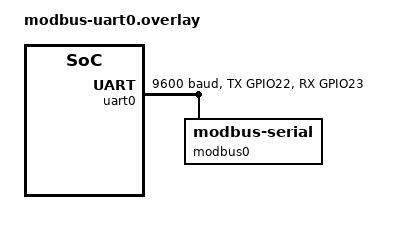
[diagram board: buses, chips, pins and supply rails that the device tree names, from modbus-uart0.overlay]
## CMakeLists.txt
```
# SPDX-License-Identifier: Apache-2.0

cmake_minimum_required(VERSION 3.20.0)

find_package(Zephyr REQUIRED HINTS $ENV{ZEPHYR_BASE})
project(wifi-tls)

# Sparkplug B protobuf, generated by nanopb into the build directory (proto/sparkplug_b.pb.h).
list(APPEND CMAKE_MODULE_PATH ${ZEPHYR_BASE}/modules/nanopb)
include(nanopb)
zephyr_nanopb_sources(app proto/sparkplug_b.proto)

target_sources(app PRIVATE
	src/main.c
	src/modbus_reader.c
	src/mqtt_transport.c
	src/sparkplug_node.c
	src/sparkplug_payload.c
)
target_sources_ifdef(CONFIG_APP_PPK_MARKERS app PRIVATE src/ppk_markers.c)
target_sources_ifdef(CONFIG_NETWORK_CELLULAR app PRIVATE src/network_modem.c)
target_sources_ifndef(CONFIG_NETWORK_CELLULAR app PRIVATE src/network_wifi.c)
```

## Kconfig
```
# Copyright 2025 NXP
# SPDX-License-Identifier: Apache-2.0

mainmenu "Wi-Fi MQTT TLS application"

config WIFI_SAMPLE_SSID
	string "SSID of the target AP"
	default "CHANGE_ME_WIFI_SSID"
	help
	  SSID of the access point to connect to in station mode.
	  For example: "TARGET-AP"

config WIFI_SAMPLE_PSK
	string "Pre-shared key for target AP"
	default "CHANGE_ME_WIFI_PSK"
	help
	  WPA2 password used to connect to the target AP.
	  For example: "PSK"

config WIFI_SAMPLE_DHCPV4_START
	bool "Start DHCPv4 server in application layer."
	default y
	help
	  Enable this option to start the DHCPv4 server from the application layer,
	  typically before the Soft AP is initialized.

	  When disabled, the DHCPv4 server startup timing is determined by the vendor's
	  implementation. In some cases, the server may be started after the AP is up,
	  using the vendor's default IP address, gateway, subnet mask.

config MQTT_BROKER_ADDRESS
	string "MQTT broker IPv4 address"
	default "CHANGE_ME_BROKER_IP"
	help
	  IPv4 address of the local Mosquitto broker.

config MQTT_CLIENT_ID
	string "MQTT client ID"
	default "esp32c6-wifi-tls"

config MQTT_TOPIC
	string "MQTT test topic (unused)"
	default "iot/test"
	help
	  Not used since the firmware publishes Sparkplug B topics (see SPARKPLUG_*).
	  Kept so existing wifi-local.conf files that set it still build.

menu "Sparkplug B"

config SPARKPLUG_GROUP_ID
	string "Sparkplug group ID"
	default "gruppe_4"
	help
	  <group_id> in spBv1.0/<group_id>/<message type>/<edge_node_id>[/<device_id>].

config SPARKPLUG_EDGE_NODE_ID
	string "Sparkplug edge node ID"
	default "c6-01"
	help
	  This ESP32-C6. The broker ACL should only let it write its own topics.

config SPARKPLUG_DEVICE_ID
	string "Sparkplug device ID of the Modbus slave"
	default "wroom_01"
	help
	  The Modbus RTU slave read by this node; it gets DBIRTH, DDATA and DDEATH.

config SPARKPLUG_PRIMARY_HOST_ID
	string "Sparkplug primary host application ID"
	default "red_01"
	help
	  The node subscribes to spBv1.0/STATE/<id> and only publishes NBIRTH while the host
	  reports {"online": true}. When it reports offline, the node sends NDEATH and
	  reconnects. Leave empty to publish without waiting for a host.

config SPARKPLUG_SAMPLE_INTERVAL_S
	int "Seconds between Modbus samples at boot"
	default 10
	range 1 3600
	help
	  Published as Config/SampleInterval_s; an NCMD can change it at runtime.

config SPARKPLUG_BATCH_SIZE
	int "Samples per DDATA message"
	default 3
	range 1 12
	help
	  Samples are collected and sent together, each with its own timestamp, to save data.
	  A sample reaches the broker up to SAMPLE_INTERVAL_S * BATCH_SIZE seconds late.

endmenu

config MQTT_SNTP_SERVER
	string "SNTP server name or IPv4 address"
	default "pool.ntp.org"
	help
	  Server asked for the time before TLS. A name needs a DNS server; an IPv4 address does not.

config NETWORK_CELLULAR
	bool "Use the Stamp CatM modem (PPP) instead of Wi-Fi"
	default n
	help
	  Selects the modem network layer (src/network_modem.c) in CMakeLists.txt instead of Wi-Fi (src/network_wifi.c). Wi-Fi remains the default.

config NETWORK_IPV4_TIMEOUT_SECONDS
	int "Seconds to wait for an IPv4 address"
	default 30

menu "Power measurements (Testplan_stroemforbrug_PPK2, test 2)"

config APP_PPK_MARKERS
	bool "GPIO markers for the PPK2 logic inputs"
	select GPIO
	help
	  D0 is high during a Modbus read and D1 during an MQTT publish, so the
	  events can be seen under the current curve without a console (section 2.3).

config APP_PPK_MARKER_MODBUS_PIN
	int "GPIO for the Modbus marker (PPK2 D0)"
	depends on APP_PPK_MARKERS
	default 2
	help
	  Avoid GPIO8/9/15 (strapping/LED), 12/13 (USB), 18/19 (modem), 22/23 (Modbus).

config APP_PPK_MARKER_PUBLISH_PIN
	int "GPIO for the publish marker (PPK2 D1)"
	depends on APP_PPK_MARKERS
	default 3

config APP_WIFI_POWER_SAVE
	bool "Wi-Fi power save after the IPv4 address (step 2b)"
	depends on !NETWORK_CELLULAR
	help
	  Asks the driver for power save (ESP32: WIFI_PS_MAX_MODEM), so the radio
	  sleeps between the access point's beacons. A failure is logged and shown
	  as a 1 s pulse on PPK2 D1.

config APP_WIFI_PS_LISTEN_INTERVAL
	int "Beacon intervals between wake-ups in power save"
	depends on APP_WIFI_POWER_SAVE
	default 3
	range 0 100
	help
	  0 lets ESP-IDF choose its default (3). Higher saves more power but delays
	  data from the access point.

config APP_FEWER_WAKEUPS
	bool "Sleep until the next sample instead of waking every second (step 2c)"
	help
	  The main loop waits in poll() until the next Modbus sample (at most
	  10 s, below the 60 s MQTT keepalive) and only logs the network status
	  while disconnected. Combine with CONFIG_PM=y for light sleep.

config APP_MODEM_PSM
	bool "Request PSM and eDRX from the SIM7080 at startup (step 2d)"
	depends on NETWORK_CELLULAR
	help
	  Sends AT+CPSMS and AT+CEDRXS after the modem reset, before the driver
	  starts. The firmware cannot read the replies at that point; check them
	  with the AT shell (AT+CPSMS?, AT+CEDRXS?) in a modem-1 build. The network
	  decides which timers are granted.

config APP_MODEM_PSM_TAU
	string "Requested periodic TAU (T3412 extended, 8 bits)"
	depends on APP_MODEM_PSM
	default "00100001"
	help
	  "00100001" = 1 x 10 min.

config APP_MODEM_PSM_ACTIVE_TIME
	string "Requested active time (T3324, 8 bits)"
	depends on APP_MODEM_PSM
	default "00000001"
	help
	  "00000001" = 1 x 2 s.

config APP_MODEM_EDRX
	string "Requested eDRX value for LTE-M (4 bits)"
	depends on APP_MODEM_PSM
	default "0101"
	help
	  "0101" = 81.92 s.

endmenu

source "Kconfig.zephyr"
```

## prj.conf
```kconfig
# Flash size of the ESP32-C6FH4
CONFIG_ESPTOOLPY_FLASHSIZE_4MB=y

# Network Configuration
CONFIG_NET_CONFIG_AUTO_INIT=n
CONFIG_NET_CONNECTION_MANAGER=y
CONFIG_NET_DHCPV4=y
CONFIG_NET_DHCPV4_SERVER=n
CONFIG_DNS_RESOLVER=y
CONFIG_NET_IF_MAX_IPV4_COUNT=2
CONFIG_NET_IF_MAX_IPV6_COUNT=2
CONFIG_NET_IPV4=y
CONFIG_NET_L2_ETHERNET=y
CONFIG_NET_MGMT=y
CONFIG_NET_MGMT_EVENT=y
CONFIG_NET_MGMT_EVENT_INFO=y
CONFIG_NET_MGMT_EVENT_QUEUE_SIZE=10
CONFIG_NET_MGMT_EVENT_STACK_SIZE=4096
CONFIG_NET_PKT_RX_COUNT=16
CONFIG_NET_PKT_TX_COUNT=16
CONFIG_NET_TCP=y
CONFIG_NET_UDP=y
CONFIG_NETWORKING=y

# Modbus RTU client on UART0; the Arduino slave uses 9600 8N1.
CONFIG_SERIAL=y
CONFIG_UART_INTERRUPT_DRIVEN=y
CONFIG_MODBUS=y
CONFIG_MODBUS_ROLE_CLIENT=y
CONFIG_MODBUS_NONCOMPLIANT_SERIAL_MODE=y

# MQTT over TLS
CONFIG_MQTT_LIB=y
CONFIG_MQTT_CLEAN_SESSION=y
CONFIG_MQTT_LIB_TLS=y
CONFIG_NET_SOCKETS_SOCKOPT_TLS=y
CONFIG_POSIX_API=y

# Sparkplug B payloads as protobuf (proto/sparkplug_b.proto)
CONFIG_NANOPB=y

# Certificate validity requires a synchronized realtime clock.
CONFIG_SNTP=y

# Mbed TLS certificate parsing and heap
CONFIG_MBEDTLS=y
CONFIG_MBEDTLS_ENABLE_HEAP=y
CONFIG_MBEDTLS_HEAP_SIZE=60000
CONFIG_MBEDTLS_SSL_MAX_CONTENT_LEN=16384
CONFIG_MBEDTLS_X509_CRT_PARSE_C=y
CONFIG_MBEDTLS_PEM_PARSE_C=y
CONFIG_MBEDTLS_BASE64_C=y
CONFIG_MBEDTLS_CIPHERSUITE_TLS_ECDHE_RSA_WITH_AES_128_GCM_SHA256=y
CONFIG_PSA_WANT_KEY_TYPE_RSA_PUBLIC_KEY=y

# Application logging
CONFIG_LOG=y
CONFIG_MAIN_STACK_SIZE=8192

# LOG Configuration
CONFIG_NET_LOG=y

# Compile out debug logging: no module logs below info
CONFIG_LOG_MAX_LEVEL=3
```

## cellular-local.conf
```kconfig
# Broker values for the modem build. Copied from wifi-local.conf without SSID or PSK.
CONFIG_MQTT_BROKER_ADDRESS="92.113.144.124"
CONFIG_MQTT_CLIENT_ID="esp32c6-wifi-tls"
```

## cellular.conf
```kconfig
# Modem build: PPP over the Stamp CatM instead of Wi-Fi.
# Passed to west build by run-build.sh via -DEXTRA_CONF_FILE together with cellular-local.conf.
CONFIG_NETWORK_CELLULAR=y
# PPP took about 17 s to assign an IP in cellular-ppp; registration can take longer.
CONFIG_NETWORK_IPV4_TIMEOUT_SECONDS=180

# PPP and the modem driver, as tested in cellular-ppp.
CONFIG_NET_NATIVE=y
CONFIG_NET_L2_PPP=y
# Use the DNS server the mobile network offers during PPP, so pool.ntp.org can be resolved for SNTP.
CONFIG_NET_L2_PPP_OPTION_DNS_USE=y
# Name lookups over PPP took 0.5 to 0.7 s or 3.6 to 5.3 s; the default 2 s timeout failed some of them.
CONFIG_NET_SOCKETS_DNS_TIMEOUT=10000

# Check the certificate's validity dates against the clock set by SNTP (test; see README).
CONFIG_MBEDTLS_HAVE_TIME_DATE=y
CONFIG_MODEM=y
CONFIG_PM_DEVICE=y
CONFIG_MODEM_CELLULAR=y
CONFIG_MODEM_CELLULAR_APN="onomondo"
# Larger CMUX work buffers, which also size the DLCI 1 (PPP) receive buffer. The default
# (MTU 127 + 7) overran during TLS and MQTT bursts. 512 is a test value, not a measured optimum.
CONFIG_MODEM_CMUX_WORK_BUFFER_SIZE_EXTRA=512

# AT shell for manual checks over the USB console.
CONFIG_SHELL=y
CONFIG_SHELL_WILDCARD=n
CONFIG_MODEM_AT_SHELL=y
CONFIG_MODEM_MODULES_LOG_LEVEL_DBG=y
```

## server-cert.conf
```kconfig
# Server certificate configuration for the current local MQTT broker.
# Keep the IP-SAN aligned with CONFIG_MQTT_BROKER_ADDRESS in wifi-local.conf.

[req]
distinguished_name = req_distinguished_name
req_extensions = req_ext
prompt = no

[req_distinguished_name]
CN = 192.168.87.119

[req_ext]
subjectAltName = @alt_names
basicConstraints = critical,CA:FALSE
keyUsage = critical,digitalSignature,keyEncipherment
extendedKeyUsage = serverAuth

[alt_names]
IP.1 = 192.168.87.119
```

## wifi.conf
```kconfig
# Wi-Fi station build. Passed to west build by run-build.sh via -DEXTRA_CONF_FILE.
CONFIG_WIFI=y
CONFIG_WIFI_NM=y
CONFIG_WIFI_USAGE_MODE_STA_AP=n
CONFIG_ESP32_WIFI_STA_RECONNECT=y
CONFIG_WIFI_USAGE_MODE_STA=y
CONFIG_WIFI_USAGE_MODE_AP=n
CONFIG_NET_L2_WIFI_MGMT=y

# Network layer: Wi-Fi is the default choice in Kconfig.
CONFIG_NETWORK_CELLULAR=n
CONFIG_NETWORK_IPV4_TIMEOUT_SECONDS=30
```

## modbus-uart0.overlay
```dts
#include <zephyr/dt-bindings/pinctrl/esp-pinctrl-common.h>
#include <zephyr/dt-bindings/pinctrl/esp32c6-pinctrl.h>

/* Modbus UART0 uses GPIO22/23 with HW-519 auto-direction */
&pinctrl {
	uart0_modbus: uart0_modbus {
		group1 {
			pinmux = <UART0_TX_GPIO22>;
			output-high;
		};

		group2 {
			pinmux = <UART0_RX_GPIO23>;
			bias-pull-up;
		};
	};
};

&uart0 {
	status = "okay";
	current-speed = <9600>;
	pinctrl-0 = <&uart0_modbus>;
	pinctrl-names = "default";

	modbus0 {
		compatible = "zephyr,modbus-serial";
		status = "okay";
	};
};
```

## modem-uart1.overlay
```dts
#include <zephyr/dt-bindings/gpio/gpio.h>
#include <zephyr/dt-bindings/pinctrl/esp-pinctrl-common.h>
#include <zephyr/dt-bindings/pinctrl/esp32c6-pinctrl.h>

/ {
	aliases {
		modem = &modem;
	};
};

/*
 * Copied from cellular-ppp/app.overlay, which is the tested reference.
 * Keep the two in sync when either changes.
 *
 * GPIO16/17 (uart0) share nets with the CP2102N bridge on the DevKitC-1 and the
 * modem stays silent there, so it sits on uart1 with GPIO18 TX and GPIO19 RX.
 */
&pinctrl {
	uart1_modem: uart1_modem {
		group1 {
			pinmux = <UART1_TX_GPIO18>;
			output-high;
		};

		group2 {
			pinmux = <UART1_RX_GPIO19>;
			bias-pull-up;
		};
	};
};

/* Stamp CatM on uart1, wired crosswise: Stamp TX to GPIO19, Stamp RX to GPIO18. */
&uart1 {
	status = "okay";
	current-speed = <115200>;
	pinctrl-0 = <&uart1_modem>;
	pinctrl-names = "default";

	modem: modem {
		compatible = "simcom,sim7080";
		status = "okay";
		/*
		 * PWRKEY is not exposed on the Stamp CatM header, so this pin is
		 * deliberately left unconnected. The binding requires a property.
		 */
		mdm-power-gpios = <&gpio0 10 GPIO_ACTIVE_HIGH>;
	};
};
```

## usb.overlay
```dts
/ {
    chosen {
        zephyr,console = &usb_serial;
        zephyr,shell-uart = &usb_serial;
    };
};

&usb_serial {
    status = "okay";
    current-speed = <115200>;
};
```

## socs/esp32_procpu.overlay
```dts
/ {
	wifi_ap: wifi_ap {
		compatible = "espressif,esp32-wifi";
		status = "okay";
	};

    chosen {
        zephyr,console = &usb_serial;
        zephyr,shell-uart = &usb_serial;
    };
};
```

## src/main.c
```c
/*
 * SPDX-License-Identifier: Apache-2.0
 */

#include "modbus_reader.h"
#include "mqtt_transport.h"
#include "network.h"
#include "ppk_markers.h"
#include "sparkplug_node.h"

#include <zephyr/kernel.h>
#include <zephyr/logging/log.h>
#include <zephyr/net/dns_resolve.h>
#include <zephyr/net/net_ip.h>
#include <zephyr/net/sntp.h>
#include <zephyr/sys/clock.h>

#include <errno.h>
#include <time.h>

LOG_MODULE_REGISTER(MAIN);

#define MQTT_SNTP_SERVER CONFIG_MQTT_SNTP_SERVER
#define MODBUS_EXPECTED_TEST_VALUE 1234
/* Main-loop poll time: 1 s normally; with CONFIG_APP_FEWER_WAKEUPS up to the next sample,
 * capped well below the 60 s MQTT keepalive.
 */
#define LOOP_POLL_MS 1000
#define LOOP_POLL_MAX_MS 10000

/* False after a failed pre-TLS network check, so no TLS or MQTT is attempted on that link. */
static bool mqtt_allowed = true;
/* True once SNTP has set the clock; certificate dates are checked against it. */
static bool clock_synchronized = false;

/* Log the IPv4 DNS servers the resolver holds, so a missing or wrong server is visible. */
static void log_dns_servers(void)
{
	struct dns_resolve_context *dns = dns_resolve_get_default();
	char text[NET_IPV4_ADDR_LEN];
	int found = 0;

	for (int i = 0; i < DNS_RESOLVER_MAX_POLL; i++)
	{
		const struct net_sockaddr *server = &dns->servers[i].dns_server;

		if (server->sa_family != NET_AF_INET)
		{
			continue;
		}

		net_addr_ntop(NET_AF_INET, &net_sin(server)->sin_addr, text, sizeof(text));
		LOG_INF("DNS server %d: %s", i, text);
		found++;
	}

	if (found == 0)
	{
		LOG_WRN("No IPv4 DNS server configured");
	}
}

static int synchronize_clock(void)
{
	struct sntp_time sntp_time;
	struct timespec realtime;
	int ret;

	int64_t started_ms = k_uptime_get();

	ret = sntp_simple(MQTT_SNTP_SERVER, 5000, &sntp_time);
	LOG_INF("SNTP name lookup and query took %d ms", (int)(k_uptime_get() - started_ms));
	if (ret < 0)
	{
		LOG_ERR("SNTP query failed: %d", ret);
		log_dns_servers();
		return ret;
	}

	realtime.tv_sec = (time_t)sntp_time.seconds;
	realtime.tv_nsec = ((uint64_t)sntp_time.fraction * NSEC_PER_SEC) >> 32;
	ret = sys_clock_settime(SYS_CLOCK_REALTIME, &realtime);
	if (ret < 0)
	{
		LOG_ERR("Setting realtime clock failed: %d", ret);
		return ret;
	}

	LOG_INF("Realtime clock synchronized before TLS");
	clock_synchronized = true;
	return 0;
}

/* Read and validate the RTU values and hand the slave's uptime to Sparkplug. */
static void sample_modbus_uptime(void)
{
	uint16_t test_value;
	uint16_t uptime_seconds;
	int ret;

	ppk_mark_modbus(true);
	ret = modbus_reader_read(&test_value, &uptime_seconds);
	ppk_mark_modbus(false);
	if (ret < 0)
	{
		LOG_ERR("Modbus RTU read failed: %d", ret);
		sparkplug_node_device_offline();
		return;
	}

	if (test_value != MODBUS_EXPECTED_TEST_VALUE)
	{
		LOG_ERR("Modbus validation failed: register 0 = %u", test_value);
		sparkplug_node_device_offline();
		return;
	}

	LOG_INF("Modbus sample: register 0 = %u, uptime = %u s", test_value, uptime_seconds);
	sparkplug_node_device_sample(uptime_seconds);
}

/* Time to wait in poll() before the loop has work again. */
static int loop_poll_ms(bool modbus_ready, int64_t next_modbus_sample_ms)
{
	if (!IS_ENABLED(CONFIG_APP_FEWER_WAKEUPS))
	{
		return LOOP_POLL_MS;
	}

	if (!modbus_ready)
	{
		return LOOP_POLL_MAX_MS;
	}

	return (int)CLAMP(next_modbus_sample_ms - k_uptime_get(), 0, LOOP_POLL_MAX_MS);
}

/* Turn on the link's power save; an error shows as a 1 s pulse on PPK2 D1. */
static void enable_power_save(void)
{
	int ret = network_enable_power_save();

	if (ret < 0)
	{
		LOG_ERR("Power save not enabled: %d", ret);
		ppk_signal_error();
	}
}

int main(void)
{
	int64_t next_modbus_sample_ms = 0;
	bool modbus_ready = false;
	int ret;

	ppk_markers_init();
	k_sleep(K_SECONDS(5));

	ret = modbus_reader_init();
	if (ret < 0)
	{
		LOG_ERR("Modbus client initialization failed: %d; telemetry disabled", ret);
	}
	else
	{
		modbus_ready = true;
		LOG_INF("Modbus RTU client ready; sample interval %u ms",
			sparkplug_node_sample_interval_ms());
	}

	if (mqtt_transport_tls_init() < 0)
	{
		LOG_ERR("TLS initialization failed");
		return 0;
	}

	if (sparkplug_node_init() < 0)
	{
		LOG_ERR("Sparkplug B initialization failed");
		return 0;
	}

	if (network_start() < 0)
	{
		LOG_ERR("Lower network layer failed to start");
	}
	else if (network_wait_ipv4(CONFIG_NETWORK_IPV4_TIMEOUT_SECONDS) == 0)
	{
		LOG_INF("ipv4 recieved");
		enable_power_save();
		if (network_precheck() < 0)
		{
			LOG_ERR("Stopping before TLS: plain TCP to broker failed");
			mqtt_allowed = false;
		}
		else if (synchronize_clock() == 0 && sparkplug_node_connect() == 0)
		{
			next_modbus_sample_ms = k_uptime_get();
		}
	}

	while (true)
	{
		/* With fewer wake-ups the status is only logged while trying to reconnect. */
		if (!IS_ENABLED(CONFIG_APP_FEWER_WAKEUPS) || !mqtt_transport_is_connected())
		{
			network_log_status();
		}

		if (mqtt_transport_is_connected())
		{
			mqtt_transport_process(loop_poll_ms(modbus_ready, next_modbus_sample_ms));
			sparkplug_node_process();
		}
		else
		{
			k_sleep(K_SECONDS(5));
			/* Retry the clock first: a wrong clock makes TLS reject the certificate. */
			if (mqtt_allowed && network_has_ipv4() &&
			    (clock_synchronized || synchronize_clock() == 0))
			{
				if (sparkplug_node_connect() == 0)
				{
					next_modbus_sample_ms = k_uptime_get();
				}
			}
		}

		if (mqtt_transport_is_connected() && modbus_ready &&
		    k_uptime_get() >= next_modbus_sample_ms)
		{
			sample_modbus_uptime();
			next_modbus_sample_ms = k_uptime_get() + sparkplug_node_sample_interval_ms();
		}
	}
}
```

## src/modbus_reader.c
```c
#include <errno.h>

#include <zephyr/kernel.h>
#include <zephyr/logging/log.h>
#include <zephyr/modbus/modbus.h>
#include <zephyr/pm/policy.h>

#include "modbus_reader.h"

LOG_MODULE_REGISTER(modbus_reader, LOG_LEVEL_INF);

#define MODBUS_NODE DT_COMPAT_GET_ANY_STATUS_OKAY(zephyr_modbus_serial)
#define SLAVE_ID 1
#define FIRST_REGISTER 0
#define REGISTER_COUNT 2
#define RESPONSE_TIMEOUT_US 500000

static int client_iface;

static const struct modbus_iface_param client_param = {
	.mode = MODBUS_MODE_RTU,
	.rx_timeout = RESPONSE_TIMEOUT_US,
	.serial = {
		.baud = 9600,
		.parity = UART_CFG_PARITY_NONE,
		.stop_bits = UART_CFG_STOP_BITS_1,
	},
};

/* Find and initialize the enabled Modbus UART. */
int modbus_reader_init(void)
{
	const char iface_name[] = {DEVICE_DT_NAME(MODBUS_NODE)};

	client_iface = modbus_iface_get_by_name(iface_name);
	if (client_iface < 0)
	{
		LOG_ERR("No Modbus interface named %s: %d", iface_name, client_iface);
		return client_iface;
	}

	return modbus_init_client(client_iface, client_param);
}

/* Read both holding registers; output parameters change only on success. */
int modbus_reader_read(uint16_t *test_value, uint16_t *uptime_seconds)
{
	uint16_t registers[REGISTER_COUNT];
	int err;

	if (test_value == NULL || uptime_seconds == NULL)
	{
		return -EINVAL;
	}

	/* No light sleep while waiting for the reply, or UART0 can lose it (CONFIG_PM). */
	pm_policy_state_lock_get(PM_STATE_STANDBY, PM_ALL_SUBSTATES);
	err = modbus_read_holding_regs(client_iface, SLAVE_ID, FIRST_REGISTER, registers,
					       REGISTER_COUNT);
	pm_policy_state_lock_put(PM_STATE_STANDBY, PM_ALL_SUBSTATES);
	if (err != 0)
	{
		return err;
	}

	*test_value = registers[0];
	*uptime_seconds = registers[1];
	return 0;
}
```

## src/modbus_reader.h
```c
#ifndef MODBUS_READER_H
#define MODBUS_READER_H

#include <stdint.h>

/* Initialize the Modbus RTU client. Returns 0 or a negative error. */
int modbus_reader_init(void);

/* Read the slave test value and uptime from holding registers 0 and 1. */
int modbus_reader_read(uint16_t *test_value, uint16_t *uptime_seconds);

#endif
```

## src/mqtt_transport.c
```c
/*
 * SPDX-License-Identifier: Apache-2.0
 */

#include "mqtt_transport.h"
#include "ppk_markers.h"
#include "tls_credentials.h"

#include <zephyr/kernel.h>
#include <zephyr/logging/log.h>
#include <zephyr/net/mqtt.h>
#include <zephyr/net/net_ip.h>
#include <zephyr/net/socket.h>
#include <zephyr/net/tls_credentials.h>
#include <zephyr/posix/arpa/inet.h>
#include <zephyr/posix/poll.h>

#include <errno.h>
#include <string.h>

LOG_MODULE_REGISTER(mqtt_transport);

/* Replace the broker placeholder before running an actual MQTT test. */
#define MQTT_BROKER_ADDRESS CONFIG_MQTT_BROKER_ADDRESS
#define MQTT_BROKER_PORT 8883
#define MQTT_CLIENT_ID CONFIG_MQTT_CLIENT_ID
/* tx holds the CONNECT packet with the will; publish payloads are sent separately (iovec). */
#define MQTT_BUFFER_SIZE 256
#define MQTT_CONNECT_TIMEOUT_MS 5000
#define MQTT_CA_CERT_TAG 1
/* Largest incoming payload (NCMD/DCMD) and topic we keep; longer ones are dropped. */
#define MQTT_RX_PAYLOAD_SIZE 512
#define MQTT_RX_TOPIC_SIZE 128

static uint8_t mqtt_rx_buffer[MQTT_BUFFER_SIZE];
static uint8_t mqtt_tx_buffer[MQTT_BUFFER_SIZE];
static struct mqtt_client mqtt_client;
static struct sockaddr_storage mqtt_broker;
static struct pollfd mqtt_pollfd;
static bool mqtt_connected;
static int mqtt_connect_result;

static struct mqtt_topic mqtt_will_topic;
static struct mqtt_utf8 mqtt_will_message;
static bool mqtt_will_set;

static mqtt_transport_rx_cb_t mqtt_rx_callback;
static uint8_t mqtt_rx_payload[MQTT_RX_PAYLOAD_SIZE];
static char mqtt_rx_topic[MQTT_RX_TOPIC_SIZE];
static uint16_t mqtt_next_message_id = 1;

static sec_tag_t mqtt_sec_tags[] = {MQTT_CA_CERT_TAG};

int mqtt_transport_tls_init(void)
{
	int ret = tls_credential_add(MQTT_CA_CERT_TAG,
					 TLS_CREDENTIAL_CA_CERTIFICATE,
					 ca_certificate,
					 sizeof(ca_certificate));

	if (ret < 0)
	{
		LOG_ERR("Failed to register MQTT CA certificate: %d", ret);
	}

	return ret;
}

void mqtt_transport_set_rx_callback(mqtt_transport_rx_cb_t callback)
{
	mqtt_rx_callback = callback;
}

void mqtt_transport_set_will(const char *topic, const uint8_t *payload, size_t length)
{
	if (topic == NULL)
	{
		mqtt_will_set = false;
		return;
	}

	mqtt_will_topic.topic.utf8 = (const uint8_t *)topic;
	mqtt_will_topic.topic.size = strlen(topic);
	mqtt_will_topic.qos = MQTT_QOS_1_AT_LEAST_ONCE;
	mqtt_will_message.utf8 = payload;
	mqtt_will_message.size = length;
	mqtt_will_set = true;
}

static uint16_t mqtt_message_id(void)
{
	uint16_t id = mqtt_next_message_id++;

	if (mqtt_next_message_id == 0)
	{
		mqtt_next_message_id = 1;
	}

	return id;
}

/* Read a received PUBLISH, acknowledge QoS 1, and hand it to the callback. */
static void mqtt_handle_publish(struct mqtt_client *client, const struct mqtt_evt *evt)
{
	const struct mqtt_publish_param *publish = &evt->param.publish;
	size_t payload_length = publish->message.payload.len;
	size_t topic_length = publish->message.topic.topic.size;
	bool fits = payload_length <= sizeof(mqtt_rx_payload) &&
		    topic_length < sizeof(mqtt_rx_topic);
	int ret;

	/* The topic points into the rx buffer and is overwritten when the payload is read. */
	if (fits)
	{
		memcpy(mqtt_rx_topic, publish->message.topic.topic.utf8, topic_length);
		mqtt_rx_topic[topic_length] = '\0';
	}

	/* The payload must always be read off the socket, also when it is dropped. */
	for (size_t done = 0; done < payload_length;)
	{
		size_t chunk = MIN(payload_length - done, sizeof(mqtt_rx_payload));
		uint8_t *dest = fits ? &mqtt_rx_payload[done] : mqtt_rx_payload;

		ret = mqtt_readall_publish_payload(client, dest, chunk);
		if (ret < 0)
		{
			LOG_ERR("MQTT payload read failed: %d", ret);
			return;
		}
		done += chunk;
	}

	if (publish->message.topic.qos == MQTT_QOS_1_AT_LEAST_ONCE)
	{
		struct mqtt_puback_param ack = {.message_id = publish->message_id};

		ret = mqtt_publish_qos1_ack(client, &ack);
		if (ret < 0)
		{
			LOG_ERR("MQTT PUBACK failed: %d", ret);
		}
	}

	if (!fits)
	{
		LOG_WRN("Dropped incoming MQTT message: topic %zu bytes, payload %zu bytes",
			topic_length, payload_length);
		return;
	}

	if (mqtt_rx_callback != NULL)
	{
		mqtt_rx_callback(mqtt_rx_topic, mqtt_rx_payload, payload_length);
	}
}

static void mqtt_event_handler(struct mqtt_client *client, const struct mqtt_evt *evt)
{
	switch (evt->type)
	{
	case MQTT_EVT_CONNACK:
		mqtt_connect_result = evt->result;
		if (evt->result == 0)
		{
			mqtt_connected = true;
			LOG_INF("MQTT connected");
		}
		else
		{
			LOG_ERR("MQTT CONNACK failed: %d", evt->result);
		}
		break;
	case MQTT_EVT_DISCONNECT:
		if (!mqtt_connected)
		{
			mqtt_connect_result = evt->result;
		}
		mqtt_connected = false;
		LOG_INF("MQTT disconnected: %d", evt->result);
		break;
	case MQTT_EVT_PUBLISH:
		if (evt->result != 0)
		{
			LOG_ERR("MQTT PUBLISH receive error: %d", evt->result);
			break;
		}
		mqtt_handle_publish(client, evt);
		break;
	case MQTT_EVT_SUBACK:
		LOG_INF("MQTT SUBACK received for message id %u", evt->param.suback.message_id);
		break;
	default:
		break;
	}
}

static int mqtt_client_setup(void)
{
	struct sockaddr_in *broker = (struct sockaddr_in *)&mqtt_broker;

	memset(&mqtt_broker, 0, sizeof(mqtt_broker));
	broker->sin_family = AF_INET;
	broker->sin_port = htons(MQTT_BROKER_PORT);
	if (inet_pton(AF_INET, MQTT_BROKER_ADDRESS, &broker->sin_addr) != 1)
	{
		LOG_ERR("Invalid MQTT broker address: %s", MQTT_BROKER_ADDRESS);
		return -EINVAL;
	}

	mqtt_client_init(&mqtt_client);
	mqtt_client.broker = &mqtt_broker;
	mqtt_client.evt_cb = mqtt_event_handler;
	mqtt_client.client_id.utf8 = (uint8_t *)MQTT_CLIENT_ID;
	mqtt_client.client_id.size = sizeof(MQTT_CLIENT_ID) - 1;
	mqtt_client.protocol_version = MQTT_VERSION_3_1_1;
	mqtt_client.rx_buf = mqtt_rx_buffer;
	mqtt_client.rx_buf_size = sizeof(mqtt_rx_buffer);
	mqtt_client.tx_buf = mqtt_tx_buffer;
	mqtt_client.tx_buf_size = sizeof(mqtt_tx_buffer);
	if (mqtt_will_set)
	{
		mqtt_client.will_topic = &mqtt_will_topic;
		mqtt_client.will_message = &mqtt_will_message;
		mqtt_client.will_retain = 0U;
	}
	mqtt_client.transport.type = MQTT_TRANSPORT_SECURE;
	struct mqtt_sec_config *tls_config = &mqtt_client.transport.tls.config;

	tls_config->peer_verify = TLS_PEER_VERIFY_REQUIRED;
	tls_config->cipher_list = NULL;
	tls_config->sec_tag_list = mqtt_sec_tags;
	tls_config->sec_tag_count = ARRAY_SIZE(mqtt_sec_tags);
	/* Verify the broker certificate against its IP without sending IP-as-SNI. */
	tls_config->hostname = MQTT_BROKER_ADDRESS;

	return 0;
}

/* Establish the MQTT client and wait for broker acceptance. */
int mqtt_transport_establish(void)
{
	int ret;

	LOG_INF("MQTT setup running");

	ret = mqtt_client_setup();
	if (ret < 0)
	{
		return ret;
	}

	mqtt_connected = false;
	mqtt_connect_result = -ETIMEDOUT;
	ret = mqtt_connect(&mqtt_client);
	if (ret < 0)
	{
		LOG_ERR("MQTT connect request failed: %d", ret);
		mqtt_abort(&mqtt_client);
		return ret;
	}

	mqtt_pollfd.fd = mqtt_client.transport.tls.sock;
	mqtt_pollfd.events = POLLIN;
	for (int elapsed = 0; elapsed < MQTT_CONNECT_TIMEOUT_MS && !mqtt_connected; elapsed += 100)
	{
		LOG_INF("MQTT connecting...");

		ret = poll(&mqtt_pollfd, 1, 100);
		if (ret < 0)
		{
			LOG_ERR("MQTT poll failed: %d", errno);
			mqtt_abort(&mqtt_client);
			return -errno;
		}
		if (ret > 0 && (mqtt_pollfd.revents & (POLLERR | POLLHUP | POLLNVAL)))
		{
			LOG_ERR("MQTT socket error, poll events: 0x%x", mqtt_pollfd.revents);
			mqtt_abort(&mqtt_client);
			return -EIO;
		}
		if (ret > 0 && (mqtt_pollfd.revents & POLLIN))
		{
			ret = mqtt_input(&mqtt_client);
			if (ret < 0)
			{
				LOG_ERR("MQTT input failed: %d", ret);
				mqtt_abort(&mqtt_client);
				return ret;
			}
		}
	}

	if (!mqtt_connected)
	{
		LOG_ERR("MQTT CONNACK timeout/result: %d", mqtt_connect_result);
		mqtt_abort(&mqtt_client);
		return -ETIMEDOUT;
	}

	LOG_INF("MQTT CONNACK accepted");
	return 0;
}

int mqtt_transport_process(int timeout_ms)
{
	int ret = poll(&mqtt_pollfd, 1, timeout_ms);

	if (ret < 0)
	{
		int poll_errno = errno;

		LOG_ERR("MQTT poll failed: %d", poll_errno);
		mqtt_abort(&mqtt_client);
		mqtt_connected = false;
		return -poll_errno;
	}

	if (ret > 0 && (mqtt_pollfd.revents & (POLLERR | POLLHUP | POLLNVAL)))
	{
		LOG_ERR("MQTT socket error, poll events: 0x%x", mqtt_pollfd.revents);
		mqtt_abort(&mqtt_client);
		mqtt_connected = false;
		return -EIO;
	}

	if (ret > 0 && (mqtt_pollfd.revents & POLLIN))
	{
		ret = mqtt_input(&mqtt_client);
		if (ret < 0)
		{
			LOG_ERR("MQTT input failed: %d", ret);
			mqtt_abort(&mqtt_client);
			mqtt_connected = false;
			return ret;
		}
	}
	else if (ret == 0)
	{
		ret = mqtt_live(&mqtt_client);
		if (ret < 0 && ret != -EAGAIN)
		{
			LOG_ERR("MQTT keepalive failed: %d", ret);
			mqtt_abort(&mqtt_client);
			mqtt_connected = false;
			return ret;
		}
	}

	return 0;
}

int mqtt_transport_subscribe(const char *topic)
{
	struct mqtt_topic subscription = {
		.topic = {.utf8 = (const uint8_t *)topic, .size = strlen(topic)},
		.qos = MQTT_QOS_1_AT_LEAST_ONCE,
	};
	struct mqtt_subscription_list list = {
		.list = &subscription,
		.list_count = 1,
		.message_id = mqtt_message_id(),
	};
	int ret = mqtt_subscribe(&mqtt_client, &list);

	if (ret < 0)
	{
		LOG_ERR("MQTT subscribe to %s failed: %d", topic, ret);
	}
	else
	{
		LOG_INF("MQTT subscribe sent: %s", topic);
	}

	return ret;
}

/* Publish one binary payload on the established MQTT connection. */
int mqtt_transport_publish(const char *topic, const uint8_t *payload, size_t length)
{
	struct mqtt_publish_param publish_param = {0};
	int ret;

	if (topic == NULL || (payload == NULL && length > 0))
	{
		return -EINVAL;
	}

	publish_param.message.topic.topic.utf8 = (const uint8_t *)topic;
	publish_param.message.topic.topic.size = strlen(topic);
	publish_param.message.topic.qos = MQTT_QOS_0_AT_MOST_ONCE;
	publish_param.message.payload.data = (uint8_t *)payload;
	publish_param.message.payload.len = length;
	/* QoS 0 has no packet identifier. */
	publish_param.message_id = 0;

	ppk_mark_publish(true);
	ret = mqtt_publish(&mqtt_client, &publish_param);
	ppk_mark_publish(false);
	if (ret < 0)
	{
		LOG_ERR("MQTT publish to %s failed: %d", topic, ret);
	}
	else
	{
		LOG_INF("MQTT QoS 0 publish accepted locally: %s (%zu bytes); broker delivery unverified",
			topic, length);
	}

	return ret;
}

int mqtt_transport_close(void)
{
	int ret = mqtt_disconnect(&mqtt_client, NULL);

	if (ret < 0)
	{
		LOG_ERR("MQTT disconnect failed: %d", ret);
		mqtt_abort(&mqtt_client);
	}

	mqtt_connected = false;
	return ret;
}

bool mqtt_transport_is_connected(void)
{
	return mqtt_connected;
}
```

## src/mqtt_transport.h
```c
/*
 * SPDX-License-Identifier: Apache-2.0
 */

#ifndef MQTT_TRANSPORT_H_
#define MQTT_TRANSPORT_H_

#include <stdbool.h>
#include <stddef.h>
#include <stdint.h>

/**
 * @brief Register the MQTT CA certificate in the TLS credential subsystem.
 *
 * @return 0 on success, negative errno on failure.
 */
int mqtt_transport_tls_init(void);

/**
 * @brief Configure the MQTT client, open TLS connection, and wait for CONNACK.
 *
 * @return 0 on success, negative errno on failure or timeout.
 */
int mqtt_transport_establish(void);

/**
 * @brief Poll the MQTT socket, process incoming packets, and send keepalive pings.
 *
 * If an error occurs, the connection is aborted internally and
 * mqtt_transport_is_connected() becomes false.
 *
 * @param timeout_ms Maximum time to wait in poll() in milliseconds.
 * @return 0 on success, negative errno on failure.
 */
int mqtt_transport_process(int timeout_ms);

/**
 * @brief Called for each PUBLISH received on a subscribed topic.
 *
 * Runs inside mqtt_transport_process(); it must not publish or block.
 * Both pointers are only valid during the call.
 */
typedef void (*mqtt_transport_rx_cb_t)(const char *topic, const uint8_t *payload, size_t length);

void mqtt_transport_set_rx_callback(mqtt_transport_rx_cb_t callback);

/**
 * @brief Set the Last Will that the broker publishes if the connection dies.
 *
 * Used by the next mqtt_transport_establish(). The will is sent with QoS 1 and no retain,
 * as Sparkplug B requires for NDEATH. The caller keeps both buffers alive until the next call.
 *
 * @param topic Null-terminated topic, or NULL for no will.
 */
void mqtt_transport_set_will(const char *topic, const uint8_t *payload, size_t length);

/**
 * @brief Subscribe to one topic with QoS 1. The SUBACK is not awaited.
 *
 * @return 0 on success, negative errno on failure.
 */
int mqtt_transport_subscribe(const char *topic);

/**
 * @brief Publish a binary payload with QoS 0 on the established connection.
 *
 * @param topic Null-terminated topic.
 * @return 0 on success, negative errno on failure.
 */
int mqtt_transport_publish(const char *topic, const uint8_t *payload, size_t length);

/**
 * @brief Send DISCONNECT and close the connection. The broker does not publish the will.
 *
 * @return 0 on success, negative errno on failure (the connection is aborted anyway).
 */
int mqtt_transport_close(void);

/**
 * @brief Check whether the MQTT client currently has an active connection.
 *
 * @return true if connected, false otherwise.
 */
bool mqtt_transport_is_connected(void);

#endif /* MQTT_TRANSPORT_H_ */
```

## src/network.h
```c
/*
 * SPDX-License-Identifier: Apache-2.0
 */

#ifndef NETWORK_H_
#define NETWORK_H_

#include <stdbool.h>

/**
 * @brief Start the lower network layer (Wi-Fi or Cellular).
 *
 * @return 0 on success, negative errno on failure.
 */
int network_start(void);

/**
 * @brief Wait for the interface to obtain an IPv4 address.
 *
 * @param timeout_seconds Maximum seconds to wait.
 * @return 0 on success, negative errno on timeout or failure.
 */
int network_wait_ipv4(int timeout_seconds);

/**
 * @brief Pre-check TCP link to broker before attempting TLS.
 *
 * @return 0 on success, negative errno on failure.
 */
int network_precheck(void);

/**
 * @brief Check if interface currently has an assigned IPv4 address.
 *
 * @return true if IPv4 is ready, false otherwise.
 */
bool network_has_ipv4(void);

/**
 * @brief Log current network connection and IPv4 status.
 */
void network_log_status(void);

/**
 * @brief Enable the link's power save mode (Wi-Fi: CONFIG_APP_WIFI_POWER_SAVE).
 *
 * Call after network_wait_ipv4() has succeeded.
 *
 * @return 0 on success or when not enabled in Kconfig, negative errno on failure
 *         (-ENOTSUP if the driver does not support it).
 */
int network_enable_power_save(void);

#endif /* NETWORK_H_ */
```

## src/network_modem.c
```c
/*
 * SPDX-License-Identifier: Apache-2.0
 */

#include "network.h"

#include <zephyr/device.h>
#include <zephyr/drivers/cellular.h>
#include <zephyr/drivers/uart.h>
#include <zephyr/kernel.h>
#include <zephyr/logging/log.h>
#include <zephyr/net/net_if.h>
#include <zephyr/net/net_ip.h>
#include <zephyr/net/net_mgmt.h>
#include <zephyr/net/socket.h>
#include <zephyr/pm/device.h>
#include <zephyr/posix/arpa/inet.h>

#include <errno.h>

LOG_MODULE_REGISTER(network_modem, CONFIG_NET_CONNECTION_MANAGER_LOG_LEVEL);

/* Devicetree is read before Kconfig, so the modem overlay must be passed at build time. */
#if !DT_NODE_EXISTS(DT_ALIAS(modem))
#error "Cellular build needs the modem alias; pass -DEXTRA_DTC_OVERLAY_FILE with modem-uart1.overlay"
#endif

#define MQTT_BROKER_ADDRESS CONFIG_MQTT_BROKER_ADDRESS
#define MQTT_BROKER_PORT 8883

#define L4_EVENT_MASK (NET_EVENT_L4_CONNECTED | NET_EVENT_L4_DISCONNECTED)
#define L4_CONNECTED_FLAG 1
#define NETWORK_POLL_SECONDS 5
#define MODEM_INFO_BUFFER_SIZE 64
/* Onomondo ICCIDs start with this prefix; only the prefix is logged. */
#define ICCID_PREFIX_LENGTH 6

static const struct device *const modem = DEVICE_DT_GET(DT_ALIAS(modem));
static const struct device *const modem_uart = DEVICE_DT_GET(DT_PARENT(DT_ALIAS(modem)));
/* 3GPP 27.010 basic-mode CLD (close multiplexer) on DLCI 0. */
static const uint8_t cmux_close_frame[] = {0xF9, 0x03, 0xEF, 0x05, 0xC3, 0x01, 0xF2, 0xF9};
#define CMUX_CLOSE_SETTLE_MS 500
/* Fixed wait for the modem to restart; the driver's init script sends its first AT 11.5 s after boot. */
#define MODEM_RESTART_WAIT_MS 4000
static struct net_if *ppp_iface;
K_EVENT_DEFINE(l4_event);

/* Track PPP link state so the IP wait and the status check see the same flag. */
static void l4_event_handler(uint64_t event, struct net_if *iface, void *info,
							 size_t info_length, void *user_data)
{
	if (iface != ppp_iface)
	{
		return;
	}

	if (event == NET_EVENT_L4_CONNECTED)
	{
		k_event_post(&l4_event, L4_CONNECTED_FLAG);
	}
	else if (event == NET_EVENT_L4_DISCONNECTED)
	{
		k_event_set(&l4_event, 0);
	}
}

NET_MGMT_REGISTER_EVENT_HANDLER(l4_events, L4_EVENT_MASK, l4_event_handler, NULL);

/* Name the registration status values so a rejected SIM is easy to recognise. */
static const char *registration_text(enum cellular_registration_status status)
{
	switch (status)
	{
	case CELLULAR_REGISTRATION_NOT_REGISTERED:
		return "not registered, not searching";
	case CELLULAR_REGISTRATION_REGISTERED_HOME:
		return "registered, home network";
	case CELLULAR_REGISTRATION_SEARCHING:
		return "searching for network";
	case CELLULAR_REGISTRATION_DENIED:
		return "DENIED by network";
	case CELLULAR_REGISTRATION_REGISTERED_ROAMING:
		return "registered, roaming";
	default:
		return "unknown or other";
	}
}

/* Log LTE registration status while waiting, so progress or rejection is visible. */
static void log_registration_progress(void)
{
	enum cellular_registration_status registration = CELLULAR_REGISTRATION_UNKNOWN;

	if (cellular_get_registration_status(modem, CELLULAR_ACCESS_TECHNOLOGY_E_UTRAN,
										 &registration) < 0)
	{
		LOG_WRN("Registration status: unavailable");
		return;
	}

	LOG_INF("Registration status: %d (%s)", registration, registration_text(registration));
}

/* Log one text modem field, marking it unknown when the read fails. */
static void log_modem_info(const char *label, enum cellular_modem_info_type type, size_t length)
{
	char value[MODEM_INFO_BUFFER_SIZE] = "-";

	if (cellular_get_modem_info(modem, type, value, sizeof(value)) < 0)
	{
		LOG_WRN("%s: unknown", label);
		return;
	}

	LOG_INF("%s: %.*s", label, (int)length, value);
}

/* Log facts that show which modem, SIM and radio link are in use. Runs once after IP. */
static void log_modem_facts(void)
{
	int16_t rssi_dbm = 0;

	log_modem_info("Model", CELLULAR_MODEM_INFO_MODEL_ID, MODEM_INFO_BUFFER_SIZE);
	log_modem_info("Firmware", CELLULAR_MODEM_INFO_FW_VERSION, MODEM_INFO_BUFFER_SIZE);
	log_modem_info("ICCID prefix", CELLULAR_MODEM_INFO_SIM_ICCID, ICCID_PREFIX_LENGTH);

	if (cellular_get_signal(modem, CELLULAR_SIGNAL_RSSI, &rssi_dbm) == 0)
	{
		LOG_INF("RSSI: %d dBm", rssi_dbm);
	}
	else
	{
		LOG_WRN("RSSI: unknown");
	}
}

/*
 * Close a CMUX session the modem kept from the previous boot, so the driver's AT script is
 * answered. The driver opens the UART early, but its init script sends the first AT only
 * 11.5 s after boot (1.5 s power pulse and 10 s startup time for the SIM7080).
 */
static void modem_close_stale_cmux(void)
{
	unsigned char stale_byte;

	LOG_INF("Closing any CMUX session left by the previous boot");
	for (size_t i = 0; i < sizeof(cmux_close_frame); i++)
	{
		uart_poll_out(modem_uart, cmux_close_frame[i]);
	}

	/* Let the modem answer, then discard the answer so the driver does not read it. */
	k_msleep(CMUX_CLOSE_SETTLE_MS);
	while (uart_poll_in(modem_uart, &stale_byte) == 0)
	{
	}
}

/* Send one AT command on the modem UART in plain AT mode. */
static void modem_send_at(const char *command)
{
	for (size_t i = 0; command[i] != '\0'; i++)
	{
		uart_poll_out(modem_uart, command[i]);
	}
	uart_poll_out(modem_uart, '\r');
}

/*
 * Reset the module with AT+CFUN=1,1 and wait for it to restart. A modem that is still attached
 * from the previous boot refuses ATD*99***1# (NO CARRIER); a reset gives the same state as a
 * power cycle. The modem's reply was not readable here with uart_poll_in in most measured runs,
 * so the wait is fixed. The restart took 2.5 to 2.8 s in measurements.
 */
static void modem_reset_module(void)
{
	LOG_INF("Resetting the modem module");
	modem_send_at("AT+CFUN=1,1");
	k_msleep(MODEM_RESTART_WAIT_MS);
}

#if defined(CONFIG_APP_MODEM_PSM)
/* Gap between the PSM commands; the replies cannot be read here (see modem_reset_module). */
#define MODEM_AT_GAP_MS 300

/*
 * Request PSM and eDRX before the driver starts (test step 2d). The network decides which
 * timers are granted; check them with AT+CPSMS? and AT+CEDRXS? in the AT shell.
 */
static void modem_request_power_saving(void)
{
	LOG_INF("Requesting PSM (TAU %s, active %s) and eDRX %s", CONFIG_APP_MODEM_PSM_TAU,
		CONFIG_APP_MODEM_PSM_ACTIVE_TIME, CONFIG_APP_MODEM_EDRX);
	modem_send_at("AT+CPSMS=1,,,\"" CONFIG_APP_MODEM_PSM_TAU "\",\""
		      CONFIG_APP_MODEM_PSM_ACTIVE_TIME "\"");
	k_msleep(MODEM_AT_GAP_MS);
	/* 4 = LTE-M (E-UTRAN WB-S1). */
	modem_send_at("AT+CEDRXS=1,4,\"" CONFIG_APP_MODEM_EDRX "\"");
	k_msleep(MODEM_AT_GAP_MS);
}
#endif

/* Power the modem and bring the PPP interface up. */
int network_start(void)
{
	int ret;

	modem_close_stale_cmux();
	modem_reset_module();
#if defined(CONFIG_APP_MODEM_PSM)
	modem_request_power_saving();
#endif

	ppp_iface = net_if_get_first_by_type(&NET_L2_GET_NAME(PPP));
	if (!ppp_iface)
	{
		LOG_ERR("No PPP interface found");
		return -ENODEV;
	}

	LOG_INF("Powering on modem");
	/* The driver resumes itself at boot, so -EALREADY means it is already running. */
	ret = pm_device_action_run(modem, PM_DEVICE_ACTION_RESUME);
	if (ret < 0 && ret != -EALREADY)
	{
		LOG_ERR("Modem resume failed: %d", ret);
		return ret;
	}

	ret = net_if_up(ppp_iface);
	if (ret < 0)
	{
		LOG_ERR("PPP interface up failed: %d", ret);
	}

	return ret;
}

/* True when the PPP link has an IPv4 address. */
bool network_has_ipv4(void)
{
	return k_event_test(&l4_event, L4_CONNECTED_FLAG) != 0;
}

/* Wait for PPP to assign an address, logging LTE registration while waiting. */
int network_wait_ipv4(int timeout_seconds)
{
	for (int waited_seconds = 0; waited_seconds < timeout_seconds;
		 waited_seconds += NETWORK_POLL_SECONDS)
	{
		uint32_t events = k_event_wait(&l4_event, L4_CONNECTED_FLAG, false,
									   K_SECONDS(NETWORK_POLL_SECONDS));

		if (events == L4_CONNECTED_FLAG)
		{
			LOG_INF("PPP link up, IP address assigned");
			log_modem_facts();
			return 0;
		}

		log_registration_progress();
	}

	LOG_ERR("No IP address within %d s", timeout_seconds);
	return -ETIMEDOUT;
}

void network_log_status(void)
{
	LOG_INF("PPP status: %s", network_has_ipv4() ? "IP assigned" : "no IP");
}

/* The modem's power saving is PSM/eDRX, requested in network_start(). */
int network_enable_power_save(void)
{
	return 0;
}

/* Open a plain TCP connection to the broker to prove the link before TLS. */
int network_precheck(void)
{
	struct sockaddr_in endpoint = {0};
	int sock;
	int ret;
	int connect_errno;

	endpoint.sin_family = AF_INET;
	endpoint.sin_port = htons(MQTT_BROKER_PORT);
	if (inet_pton(AF_INET, MQTT_BROKER_ADDRESS, &endpoint.sin_addr) != 1)
	{
		LOG_ERR("Invalid TCP endpoint address: %s", MQTT_BROKER_ADDRESS);
		return -EINVAL;
	}

	sock = zsock_socket(AF_INET, SOCK_STREAM, IPPROTO_TCP);
	if (sock < 0)
	{
		LOG_ERR("TCP socket open failed: %d", errno);
		return -errno;
	}

	/* Blocking connect; the TCP stack sets the timeout. */
	ret = zsock_connect(sock, (struct sockaddr *)&endpoint, sizeof(endpoint));
	/* Keep errno before close, because close may overwrite it. */
	connect_errno = errno;
	zsock_close(sock);
	if (ret < 0)
	{
		LOG_ERR("TCP connect to %s:%d failed: %d", MQTT_BROKER_ADDRESS, MQTT_BROKER_PORT,
				connect_errno);
		return -connect_errno;
	}

	LOG_INF("TCP connection to %s:%d succeeded", MQTT_BROKER_ADDRESS, MQTT_BROKER_PORT);
	return 0;
}
```

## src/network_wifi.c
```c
/*
 * SPDX-License-Identifier: Apache-2.0
 */

#include "network.h"

#include <zephyr/kernel.h>
#include <zephyr/logging/log.h>
#include <zephyr/net/net_if.h>
#include <zephyr/net/net_ip.h>
#include <zephyr/net/net_mgmt.h>
#include <zephyr/net/wifi_mgmt.h>

#include <errno.h>

LOG_MODULE_REGISTER(network_wifi, CONFIG_NET_CONNECTION_MANAGER_LOG_LEVEL);

#define NET_EVENT_WIFI_MASK \
	(NET_EVENT_WIFI_CONNECT_RESULT | NET_EVENT_WIFI_DISCONNECT_RESULT)

static struct net_if *sta_iface;
static struct wifi_connect_req_params sta_config;
static struct net_mgmt_event_callback cb;
static bool sta_connected;

static const char *wifi_iface_name(struct net_if *iface)
{
	if (iface == sta_iface)
	{
		return "STA";
	}
	return "unknown";
}

BUILD_ASSERT(sizeof(CONFIG_WIFI_SAMPLE_SSID) > 1,
			 "CONFIG_WIFI_SAMPLE_SSID is empty. Please set it in conf file.");

static void wifi_event_handler(struct net_mgmt_event_callback *cb, uint64_t mgmt_event,
							   struct net_if *iface)
{
	switch (mgmt_event)
	{
	case NET_EVENT_WIFI_CONNECT_RESULT:
	{
		struct wifi_status *status = (struct wifi_status *)cb->info;
		int result = status ? status->status : -ENODATA;

		if (result == 0)
		{
			sta_connected = true;
			LOG_INF("Wi-Fi %s connected (status=%d)", wifi_iface_name(iface), result);
		}
		else
		{
			sta_connected = false;
			LOG_ERR("Wi-Fi %s connection failed (status=%d)", wifi_iface_name(iface), result);
		}
		break;
	}
	case NET_EVENT_WIFI_DISCONNECT_RESULT:
	{
		struct wifi_status *status = (struct wifi_status *)cb->info;
		int result = status ? status->status : -ENODATA;

		sta_connected = false;
		LOG_WRN("Wi-Fi %s disconnected (status=%d)", wifi_iface_name(iface), result);
		break;
	}
	default:
		break;
	}
}

void network_log_status(void)
{
	struct net_in_addr *ipv4 = NULL;
	char ipv4_text[NET_IPV4_ADDR_LEN] = "none";

	if (sta_iface)
	{
		ipv4 = net_if_ipv4_get_global_addr(sta_iface, NET_ADDR_PREFERRED);
	}
	if (ipv4)
	{
		net_addr_ntop(NET_AF_INET, ipv4, ipv4_text, sizeof(ipv4_text));
	}

	LOG_INF("Wi-Fi status: %s, IPv4: %s",
			sta_connected ? "connected" : "disconnected",
			ipv4_text);
}

static int connect_to_wifi(void)
{
	if (!sta_iface)
	{
		LOG_INF("STA: interface not initialized");
		return -EIO;
	}

	sta_config.ssid = (const uint8_t *)CONFIG_WIFI_SAMPLE_SSID;
	sta_config.ssid_length = sizeof(CONFIG_WIFI_SAMPLE_SSID) - 1;
	sta_config.psk = (const uint8_t *)CONFIG_WIFI_SAMPLE_PSK;
	sta_config.psk_length = sizeof(CONFIG_WIFI_SAMPLE_PSK) - 1;
	sta_config.security = WIFI_SECURITY_TYPE_PSK;
	sta_config.channel = WIFI_CHANNEL_ANY;
	sta_config.band = WIFI_FREQ_BAND_2_4_GHZ;

	LOG_INF("Connecting to configured Wi-Fi network");

	int ret = net_mgmt(NET_REQUEST_WIFI_CONNECT, sta_iface, &sta_config,
					   sizeof(struct wifi_connect_req_params));
	if (ret)
	{
		LOG_ERR("Unable to connect to configured Wi-Fi network");
	}

	return ret;
}

int network_wait_ipv4(int timeout_seconds)
{
	for (int i = 0; i < timeout_seconds; i++)
	{
		LOG_INF("Waiting for ipv4");

		if (sta_connected && net_if_ipv4_get_global_addr(sta_iface, NET_ADDR_PREFERRED))
		{
			return 0;
		}

		k_sleep(K_SECONDS(1));
	}

	LOG_ERR("Timed out waiting for Wi-Fi IPv4 address");
	return -ETIMEDOUT;
}

/* Wi-Fi has no pre-TLS network check; the broker check is cellular-only. */
int network_precheck(void)
{
	return 0;
}

/* Start the Wi-Fi station and request connection to the configured AP. */
int network_start(void)
{
	net_mgmt_init_event_callback(&cb, wifi_event_handler, NET_EVENT_WIFI_MASK);
	net_mgmt_add_event_callback(&cb);

	/* Get the station interface. */
	sta_iface = net_if_get_wifi_sta();

	/* Connect failures are logged by connect_to_wifi; the IPv4 wait reports the outcome. */
	connect_to_wifi();
	return 0;
}

int network_enable_power_save(void)
{
#if defined(CONFIG_APP_WIFI_POWER_SAVE)
	struct wifi_ps_params params = {
		.enabled = WIFI_PS_ENABLED,
		.type = WIFI_PS_PARAM_STATE,
		/* The ESP32 driver writes this into the station config; 0 means its default 3. */
		.listen_interval = CONFIG_APP_WIFI_PS_LISTEN_INTERVAL,
	};
	int ret;

	if (!sta_iface)
	{
		return -ENODEV;
	}

	ret = net_mgmt(NET_REQUEST_WIFI_PS, sta_iface, &params, sizeof(params));
	if (ret < 0)
	{
		LOG_ERR("Wi-Fi power save failed: %d (fail reason %d)", ret, params.fail_reason);
		return ret;
	}

	LOG_INF("Wi-Fi power save enabled, listen interval %d", CONFIG_APP_WIFI_PS_LISTEN_INTERVAL);
#endif
	return 0;
}

/* True when the station is connected and has an IPv4 address. */
bool network_has_ipv4(void)
{
	return sta_connected && net_if_ipv4_get_global_addr(sta_iface, NET_ADDR_PREFERRED) != NULL;
}
```

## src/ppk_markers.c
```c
/*
 * SPDX-License-Identifier: Apache-2.0
 */

#include "ppk_markers.h"

#include <zephyr/drivers/gpio.h>
#include <zephyr/kernel.h>
#include <zephyr/logging/log.h>

LOG_MODULE_REGISTER(ppk_markers);

#define MARK_MODBUS  CONFIG_APP_PPK_MARKER_MODBUS_PIN
#define MARK_PUBLISH CONFIG_APP_PPK_MARKER_PUBLISH_PIN
#define ERROR_PULSE_MS 1000

static const struct device *const gpio0 = DEVICE_DT_GET(DT_NODELABEL(gpio0));

int ppk_markers_init(void)
{
	int ret;

	if (!device_is_ready(gpio0))
	{
		LOG_ERR("gpio0 not ready; PPK markers disabled");
		return -ENODEV;
	}

	ret = gpio_pin_configure(gpio0, MARK_MODBUS, GPIO_OUTPUT_INACTIVE);
	if (ret == 0)
	{
		ret = gpio_pin_configure(gpio0, MARK_PUBLISH, GPIO_OUTPUT_INACTIVE);
	}
	if (ret < 0)
	{
		LOG_ERR("PPK marker GPIO setup failed: %d", ret);
		return ret;
	}

	LOG_INF("PPK markers: Modbus on GPIO%d (D0), publish on GPIO%d (D1)", MARK_MODBUS,
		MARK_PUBLISH);
	return 0;
}

void ppk_mark_modbus(bool active)
{
	gpio_pin_set(gpio0, MARK_MODBUS, active ? 1 : 0);
}

void ppk_mark_publish(bool active)
{
	gpio_pin_set(gpio0, MARK_PUBLISH, active ? 1 : 0);
}

void ppk_signal_error(void)
{
	gpio_pin_set(gpio0, MARK_PUBLISH, 1);
	k_msleep(ERROR_PULSE_MS);
	gpio_pin_set(gpio0, MARK_PUBLISH, 0);
}
```
